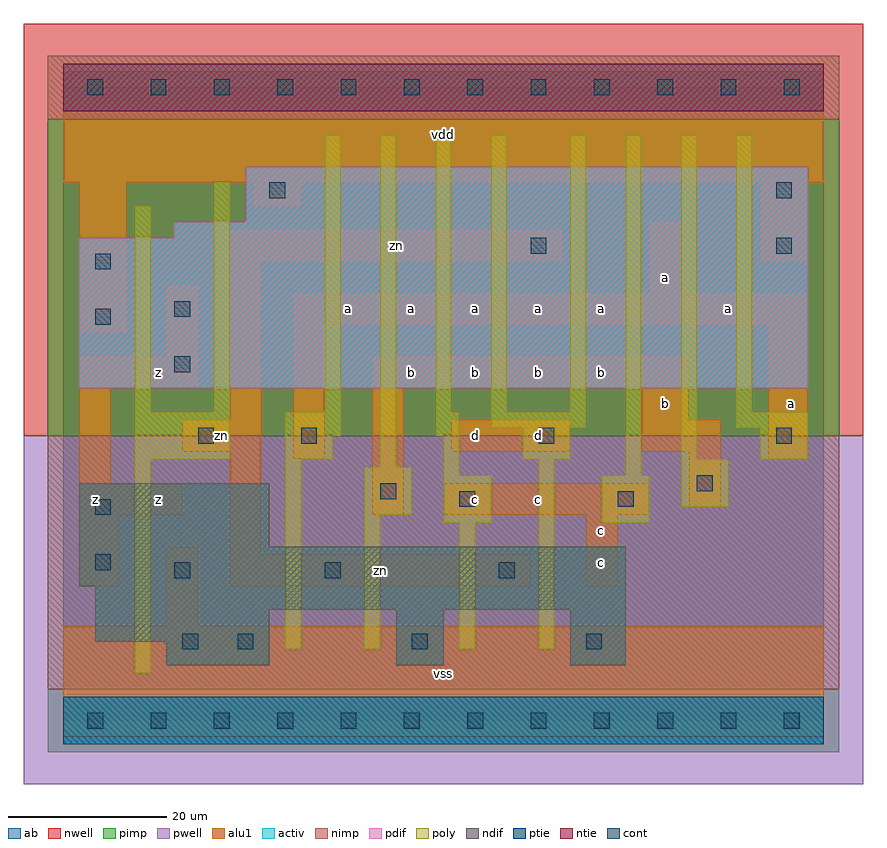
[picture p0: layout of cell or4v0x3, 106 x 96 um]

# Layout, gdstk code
import gdstk
lib = gdstk.Library(unit=1e-6, precision=1e-09)
def R(c, l, rs):  # rectangles x0, y0, x1, y1
    for r in rs: c.add(gdstk.rectangle(r[:2], r[2:], *l))
def A(c, l, x, y, w, h, nx, ny, dx, dy):  # array of equal rectangles
    R(c, l, [(x+i*dx, y+j*dy, x+i*dx+w, y+j*dy+h) for i in range(nx) for j in range(ny)])
ndif = (3, 0)
pdif = (4, 0)
ntie = (5, 0)
ptie = (6, 0)
cont = (25, 0)
pwell = (41, 0)
nwell = (42, 0)
activ = (43, 0)
pimp = (44, 0)
nimp = (45, 0)
poly = (46, 0)
alu1 = (49, 0)
ab = (63, 0)

or4v0x3 = lib.new_cell('or4v0x3')
R(or4v0x3, ndif, [(13,7,26,10), (42,7,48,14), (64,7,71,14), (4,10,26,14), (4,14,71,17), (2,17,71,22), (2,22,26,30)])
R(or4v0x3, pdif, [(2,42,94,61), (14,61,94,63), (23,63,94,70)])
R(or4v0x3, ntie, [(0,77,96,83)])
R(or4v0x3, ptie, [(0,-3,96,3)])
A(or4v0x3, cont, 3, -1, 2, 2, 12, 2, 8, 80)
A(or4v0x3, cont, 22, 9, 2, 2, 3, 1, 22, 0)
A(or4v0x3, cont, 30, 35, 2, 2, 3, 1, 30, 0)
R(or4v0x3, cont, [(15,9,17,11), (14,18,16,20), (33,18,35,20), (55,18,57,20), (4,19,6,21), (4,26,6,28), (50,27,52,29), (70,27,72,29), (40,28,42,30), (80,29,82,31), (17,35,19,37), (14,44,16,46), (4,50,6,52), (14,51,16,53), (4,57,6,59), (59,59,61,61), (90,59,92,61), (26,66,28,68), (90,66,92,68)])
R(or4v0x3, pwell, [(-5,-8,101,36)])
R(or4v0x3, nwell, [(-5,36,101,88)])
R(or4v0x3, activ, [(0,-3,96,3), (13,7,26,10), (42,7,48,14), (64,7,71,14), (4,10,26,14), (4,14,71,17), (2,17,71,22), (2,22,26,30), (2,42,94,61), (14,61,94,63), (23,63,94,70), (0,77,96,83)])
R(or4v0x3, pimp, [(-2,-4,98,4), (-2,36,98,76)])
R(or4v0x3, nimp, [(-2,4,98,36), (-2,76,98,84)])
R(or4v0x3, poly, [(9,6,11,33), (28,9,30,33), (38,9,40,26), (50,9,52,25), (60,9,62,33), (48,25,54,31), (68,25,74,31), (38,26,44,32), (78,27,84,33), (48,31,50,36), (71,31,73,74), (40,32,42,74), (9,33,21,39), (28,33,34,36), (58,33,64,37), (78,33,80,74), (88,33,94,37), (28,36,35,39), (47,36,50,39), (54,37,66,39), (85,37,94,39), (9,39,11,65), (19,39,21,68), (33,39,35,74), (47,39,49,74), (54,39,56,74), (64,39,66,74), (85,39,87,74)])
R(or4v0x3, alu1, [(0,-2,96,12), (13,12,17,22), (2,17,7,26), (21,17,59,21), (66,17,70,26), (21,21,25,34), (2,26,15,30), (39,26,43,42), (48,26,74,30), (79,27,83,34), (2,30,6,42), (29,33,33,50), (89,33,94,50), (15,34,25,38), (49,34,64,38), (73,34,83,38), (21,38,25,58), (73,38,79,42), (2,42,17,46), (39,42,79,46), (13,46,17,55), (2,49,8,68), (29,50,94,54), (74,54,78,63), (21,58,63,62), (88,58,94,68), (24,65,30,68), (0,68,96,82)])
R(or4v0x3, ab, [(0,0,96,80)])
or4v0x3.add(gdstk.Label('zn', (20,36), layer=49, texttype=0))
or4v0x3.add(gdstk.Label('zn', (40,19), layer=49, texttype=0))
or4v0x3.add(gdstk.Label('zn', (42,60), layer=49, texttype=0))
or4v0x3.add(gdstk.Label('z', (4,28), layer=49, texttype=0))
or4v0x3.add(gdstk.Label('z', (12,28), layer=49, texttype=0))
or4v0x3.add(gdstk.Label('z', (12,44), layer=49, texttype=0))
or4v0x3.add(gdstk.Label('vss', (48,6), layer=49, texttype=0))
or4v0x3.add(gdstk.Label('c', (52,28), layer=49, texttype=0))
or4v0x3.add(gdstk.Label('b', (44,44), layer=49, texttype=0))
or4v0x3.add(gdstk.Label('d', (52,36), layer=49, texttype=0))
or4v0x3.add(gdstk.Label('b', (52,44), layer=49, texttype=0))
or4v0x3.add(gdstk.Label('a', (44,52), layer=49, texttype=0))
or4v0x3.add(gdstk.Label('a', (52,52), layer=49, texttype=0))
or4v0x3.add(gdstk.Label('a', (36,52), layer=49, texttype=0))
or4v0x3.add(gdstk.Label('vdd', (48,74), layer=49, texttype=0))
or4v0x3.add(gdstk.Label('c', (60,28), layer=49, texttype=0))
or4v0x3.add(gdstk.Label('c', (68,20), layer=49, texttype=0))
or4v0x3.add(gdstk.Label('c', (68,24), layer=49, texttype=0))
or4v0x3.add(gdstk.Label('d', (60,36), layer=49, texttype=0))
or4v0x3.add(gdstk.Label('b', (60,44), layer=49, texttype=0))
or4v0x3.add(gdstk.Label('b', (68,44), layer=49, texttype=0))
or4v0x3.add(gdstk.Label('b', (76,40), layer=49, texttype=0))
or4v0x3.add(gdstk.Label('a', (68,52), layer=49, texttype=0))
or4v0x3.add(gdstk.Label('a', (60,52), layer=49, texttype=0))
or4v0x3.add(gdstk.Label('a', (76,56), layer=49, texttype=0))
or4v0x3.add(gdstk.Label('a', (92,40), layer=49, texttype=0))
or4v0x3.add(gdstk.Label('a', (84,52), layer=49, texttype=0))

lib.write_gds('or4v0x3.gds')
